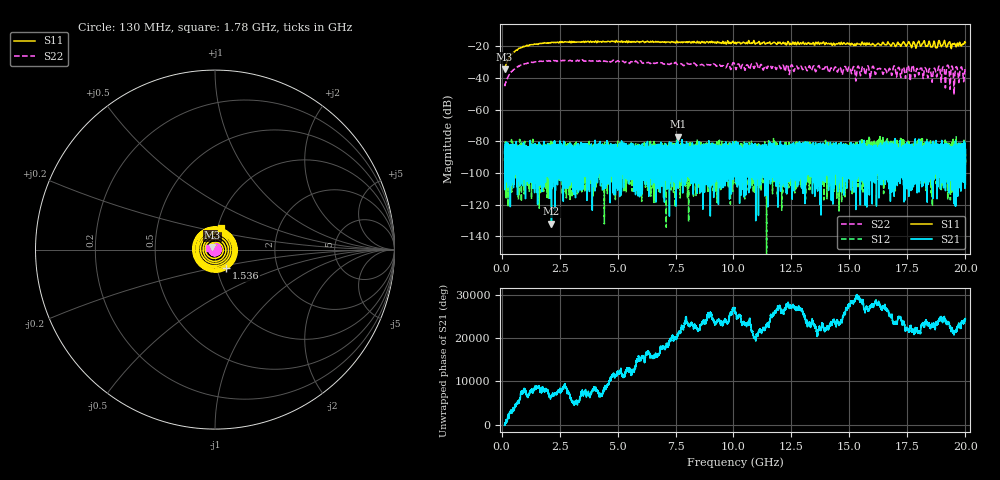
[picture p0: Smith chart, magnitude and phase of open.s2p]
!Created with skrf (http://scikit-rf.org).
# GHz S RI R 50.0
!freq ReS11 ImS11 ReS21 ImS21 ReS12 ImS12 ReS22 ImS22
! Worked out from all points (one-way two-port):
!   20013 points, 130 MHz to 20 GHz, reference 50 ohm
!   highest |S21| = -77.10 dB at 7.592 GHz (marker M1); lowest = -132.0 dB at 2.151 GHz (marker M2)
!   lowest |S11| = -34.4 dB at 130 MHz (marker M3), VSWR 1.04, Z = 48.6 + j1.26 ohm
!   |S11| at or under -10 dB: start of sweep to end of sweep
!   |S22| runs from -50.5 to -28.3 dB; largest |S21 - S12| = 0.00021
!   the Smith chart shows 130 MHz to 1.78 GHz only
!   S11 on the Smith chart (normalised r, x): 130 MHz: 0.97, +0.03; 1.536 GHz: 1.11, -0.23; 1.78 GHz: 1.04, +0.26
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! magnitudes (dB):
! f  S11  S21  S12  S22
! 130 MHz  -34.4  -87.3  -90.8  -45.2
! 363 MHz  -26.3  -86.3  -82.8  -37.3
! 670 MHz  -22.2  -95.5  -97.3  -33.1
! 1.536 GHz  -18.5  -88.5  -93.1  -29.9
! 1.78 GHz  -18.0  -93.0  -84.8  -29.4
! 2.151 GHz  -17.5  -132.0  -91.4  -29.2
! 3.442 GHz  -17.1  -84.2  -92.8  -29.0
! 6.754 GHz  -16.9  -92.1  -86.7  -30.5
! 7.592 GHz  -17.7  -77.1  -93.2  -31.4
! 10.06 GHz  -17.4  -91.1  -86.5  -32.0
! 13.38 GHz  -18.5  -98.0  -92.2  -34.8
! 15.21 GHz  -19.0  -94.7  -93.2  -33.6
! 16.69 GHz  -18.0  -92.8  -101.6  -34.9
! 18.03 GHz  -18.3  -87.8  -85.5  -35.0
! 18.48 GHz  -19.4  -94.8  -88.1  -34.8
! 19.22 GHz  -19.8  -92.8  -81.1  -32.0
! 19.52 GHz  -18.1  -94.4  -85.8  -48.6
! 19.62 GHz  -19.9  -85.2  -90.1  -32.8
! 19.71 GHz  -19.3  -93.7  -86.2  -42.8
! 19.82 GHz  -19.7  -86.6  -104.9  -32.9
! 19.91 GHz  -18.7  -94.1  -102.5  -40.4
! 20 GHz  -17.5  -107.1  -88.0  -33.5
